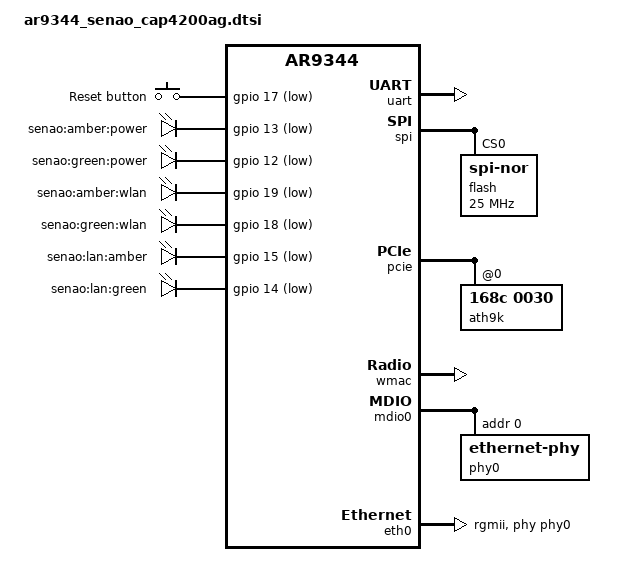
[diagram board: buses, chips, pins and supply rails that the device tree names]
// SPDX-License-Identifier: GPL-2.0-or-later OR MIT
/dts-v1/;

#include <dt-bindings/gpio/gpio.h>
#include <dt-bindings/input/input.h>

#include "ar9344.dtsi"

/ {
	aliases: aliases {
		serial0 = &uart;
		led-boot = &status;
		led-failsafe = &status;
		led-running = &running;
		led-upgrade = &status;
	};

	keys {
		compatible = "gpio-keys";

		pinctrl-names = "default";
		pinctrl-0 = <&jtag_disable_pins>;

		reset {
			label = "Reset button";
			linux,code = <KEY_RESTART>;
			gpios = <&gpio 17 GPIO_ACTIVE_LOW>;
			debounce-interval = <60>;
		};
	};

	leds {
		compatible = "gpio-leds";

		status: power_amber {
			label = "senao:amber:power";
			gpios = <&gpio 13 GPIO_ACTIVE_LOW>;
		};

		running: power_green {
			label = "senao:green:power";
			gpios = <&gpio 12 GPIO_ACTIVE_LOW>;
			default-state = "on";
		};

		wlan_amber {
			label = "senao:amber:wlan";
			gpios = <&gpio 19 GPIO_ACTIVE_LOW>;
			linux,default-trigger = "phy1tpt";
		};

		wlan_green {
			label = "senao:green:wlan";
			gpios = <&gpio 18 GPIO_ACTIVE_LOW>;
			linux,default-trigger = "phy0tpt";
		};

		lan_amber {
			label = "senao:lan:amber";
			gpios = <&gpio 15 GPIO_ACTIVE_LOW>;
		};

		lan_green {
			label = "senao:lan:green";
			gpios = <&gpio 14 GPIO_ACTIVE_LOW>;
		};
	};
};

&ref {
	clock-frequency = <25000000>;
};

&uart {
	status = "okay";
};

&gpio {
	status = "okay";
};

&spi {
	num-cs = <1>;

	status = "okay";

	flash@0 {
		compatible = "jedec,spi-nor";
		reg = <0>;
		spi-max-frequency = <25000000>;

		partitions: partitions {
			compatible = "fixed-partitions";
			#address-cells = <1>;
			#size-cells = <1>;
		};
	};
};

&pcie {
	status = "okay";

	ath9k: wifi@0,0 {
		compatible = "168c,0030";
		reg = <0x0000 0 0 0 0>;
		mtd-mac-address = <&art 0x0>;
		mtd-cal-data = <&art 0x5000>;
		qca,no-eeprom;
		qca,disable-5ghz;
		#gpio-cells = <2>;
		gpio-controller;
	};
};

&wmac {
	status = "okay";

	qca,disable-2ghz;
	mtd-cal-data = <&art 0x1000>;
	mtd-mac-address = <&art 0x0>;
};

&mdio0 {
	status = "okay";

	phy-mask = <0>;

	phy0: ethernet-phy@0 {
		reg = <0>;
		phy-mode = "rgmii";
	};
};

&eth0 {
	status = "okay";

	/* default for ar934x, except for 1000M */
	pll-data = <0x06000000 0x00000101 0x00001616>;

	mtd-mac-address = <&art 0x0>;

	phy-mode = "rgmii";
	phy-handle = <&phy0>;
};
